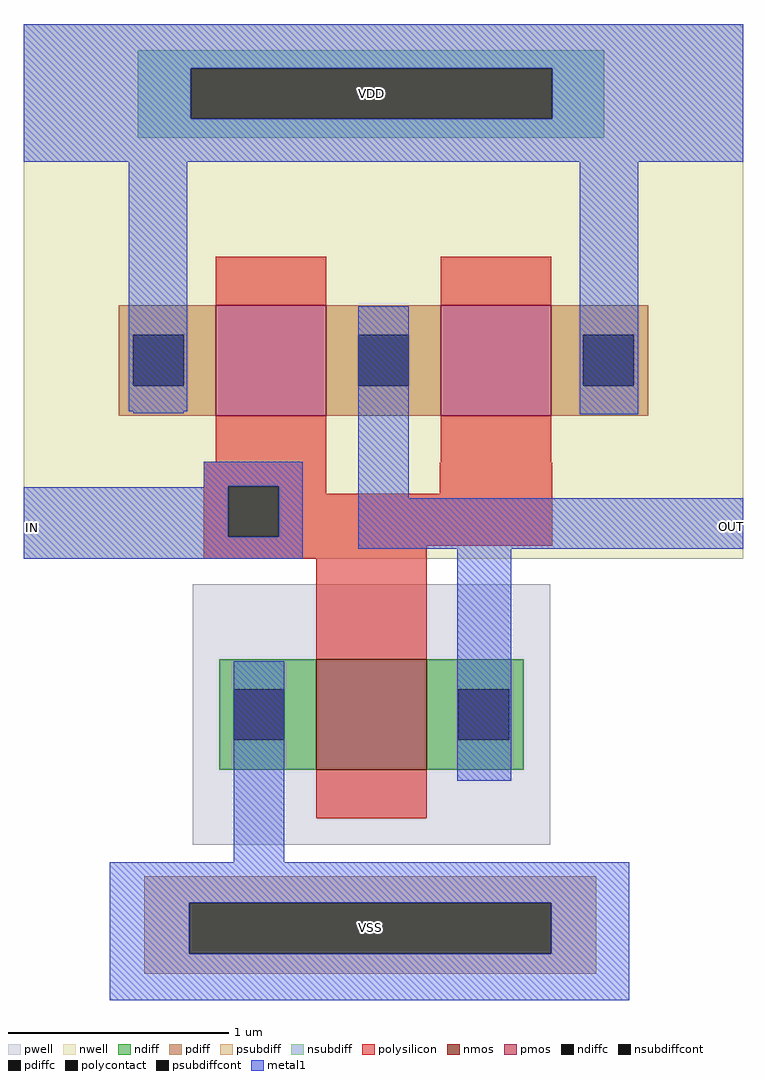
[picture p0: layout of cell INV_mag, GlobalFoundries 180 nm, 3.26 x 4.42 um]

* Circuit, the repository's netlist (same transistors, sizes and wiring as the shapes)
* NGSPICE file created from INV_mag.ext - technology: gf180mcuD

.subckt nmos_3p3_MGEA4B a_n138_n50# a_50_n50# a_n50_n94# VSUBS
X0 a_50_n50# a_n50_n94# a_n138_n50# VSUBS nfet_03v3 ad=0.22p pd=1.88u as=0.22p ps=1.88u w=0.5u l=0.5u
.ends

.subckt pmos_3p3_KG2TLV a_n52_n50# w_n326_n180# a_52_n94# a_152_n50# a_n240_n50# a_n152_n94#
X0 a_152_n50# a_52_n94# a_n52_n50# w_n326_n180# pfet_03v3 ad=0.22p pd=1.88u as=0.13p ps=1.02u w=0.5u l=0.5u
X1 a_n52_n50# a_n152_n94# a_n240_n50# w_n326_n180# pfet_03v3 ad=0.13p pd=1.02u as=0.22p ps=1.88u w=0.5u l=0.5u
.ends

.subckt INV_mag IN OUT
Xnmos_3p3_MGEA4B_0 VSS OUT IN VSS nmos_3p3_MGEA4B
Xpmos_3p3_KG2TLV_0 OUT VDD IN VDD VDD IN pmos_3p3_KG2TLV
.ends

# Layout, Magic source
magic
tech gf180mcuD
magscale 1 10
<< nwell >>
rect 0 360 652 485
rect 504 131 557 360
rect 163 59 274 88
rect 377 59 479 87
rect 163 12 479 59
rect 163 9 442 12
rect 163 0 352 9
<< psubdiff >>
rect 109 -312 519 -288
rect 109 -358 150 -312
rect 478 -358 519 -312
rect 109 -376 519 -358
<< nsubdiff >>
rect 103 445 526 461
rect 103 399 151 445
rect 479 399 526 445
rect 103 382 526 399
<< psubdiffcont >>
rect 150 -358 478 -312
<< nsubdiffcont >>
rect 151 399 479 445
<< polysilicon >>
rect 163 66 274 88
rect 163 20 185 66
rect 231 59 274 66
rect 377 59 479 87
rect 231 20 479 59
rect 163 12 479 20
rect 163 0 365 12
rect 265 -47 365 0
<< polycontact >>
rect 185 20 231 66
<< metal1 >>
rect 0 445 652 485
rect 0 399 151 445
rect 479 399 652 445
rect 0 360 652 399
rect 95 134 148 360
rect 163 66 253 88
rect 163 65 185 66
rect 0 20 185 65
rect 231 20 253 66
rect 0 0 253 20
rect 303 55 349 229
rect 504 131 557 360
rect 303 9 652 55
rect 190 -275 236 -105
rect 393 -201 442 9
rect 78 -312 549 -275
rect 78 -358 150 -312
rect 478 -358 549 -312
rect 78 -400 549 -358
use nmos_3p3_MGEA4B  nmos_3p3_MGEA4B_0
transform 1 0 315 0 1 -141
box -162 -118 162 118
use pmos_3p3_KG2TLV  pmos_3p3_KG2TLV_0
transform 1 0 326 0 1 180
box -326 -180 326 180
<< labels >>
flabel nsubdiffcont 315 422 315 422 0 FreeSans 500 0 0 0 VDD
flabel psubdiffcont 314 -334 314 -334 0 FreeSans 500 0 0 0 VSS
flabel metal1 s 8 28 8 28 0 FreeSans 500 0 0 0 IN
port 1 nsew
flabel metal1 s 642 29 642 29 0 FreeSans 500 0 0 0 OUT
port 2 nsew
<< end >>

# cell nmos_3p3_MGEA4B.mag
magic
tech gf180mcuD
magscale 1 10
<< pwell >>
rect -162 -118 162 118
<< nmos >>
rect -50 -50 50 50
<< ndiff >>
rect -138 23 -50 50
rect -138 -23 -125 23
rect -79 -23 -50 23
rect -138 -50 -50 -23
rect 50 23 138 50
rect 50 -23 79 23
rect 125 -23 138 23
rect 50 -50 138 -23
<< ndiffc >>
rect -125 -23 -79 23
rect 79 -23 125 23
<< polysilicon >>
rect -50 50 50 94
rect -50 -94 50 -50
<< metal1 >>
rect -125 23 -79 48
rect -125 -48 -79 -23
rect 79 23 125 48
rect 79 -48 125 -23
<< end >>

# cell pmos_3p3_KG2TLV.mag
magic
tech gf180mcuD
magscale 1 10
<< nwell >>
rect -326 -180 326 180
<< pmos >>
rect -152 -50 -52 50
rect 52 -50 152 50
<< pdiff >>
rect -240 23 -152 50
rect -240 -23 -227 23
rect -181 -23 -152 23
rect -240 -50 -152 -23
rect -52 23 52 50
rect -52 -23 -23 23
rect 23 -23 52 23
rect -52 -50 52 -23
rect 152 23 240 50
rect 152 -23 181 23
rect 227 -23 240 23
rect 152 -50 240 -23
<< pdiffc >>
rect -227 -23 -181 23
rect -23 -23 23 23
rect 181 -23 227 23
<< polysilicon >>
rect -152 50 -52 94
rect 52 50 152 94
rect -152 -94 -52 -50
rect 52 -94 152 -50
<< metal1 >>
rect -227 23 -181 48
rect -227 -48 -181 -23
rect -23 23 23 48
rect -23 -48 23 -23
rect 181 23 227 48
rect 181 -48 227 -23
<< end >>
